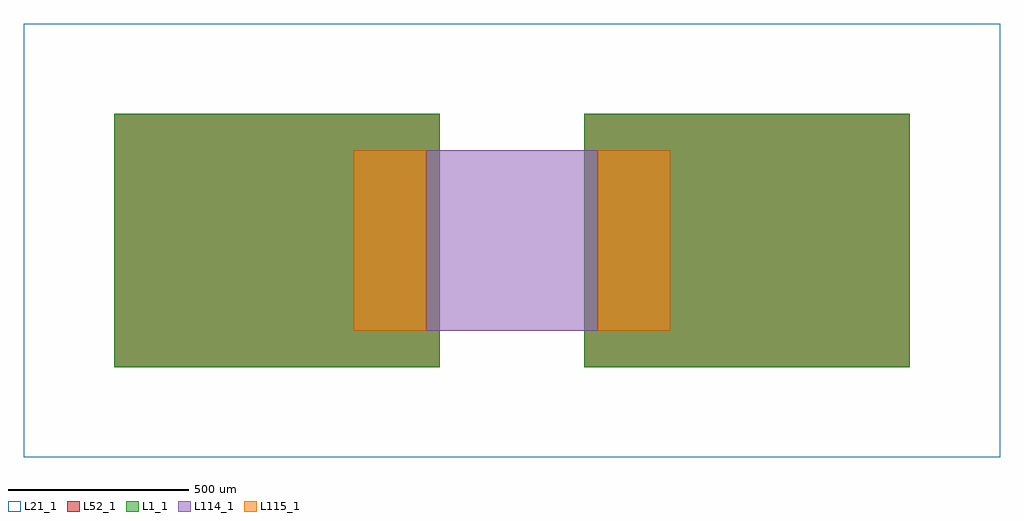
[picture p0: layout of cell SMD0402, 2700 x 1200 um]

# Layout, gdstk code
import gdstk
lib = gdstk.Library(unit=1e-6, precision=1e-09)
def R(c, l, rs):  # rectangles x0, y0, x1, y1
    for r in rs: c.add(gdstk.rectangle(r[:2], r[2:], *l))
L1_1 = (1, 1)
L21_1 = (21, 1)
L52_1 = (52, 1)
L114_1 = (114, 1)
L115_1 = (115, 1)

smd0402 = lib.new_cell('SMD0402')
R(smd0402, L1_1, [(0,0,900,700), (1300,0,2200,700)])
R(smd0402, L21_1, [(-250,-250,2450,950)])
R(smd0402, L52_1, [(0,0,900,700), (1300,0,2200,700)])
R(smd0402, L114_1, [(862.5,100,1337.5,600)])
R(smd0402, L115_1, [(662.5,100,862.5,600), (1337.5,100,1537.5,600)])

lib.write_gds('SMD0402.gds')
